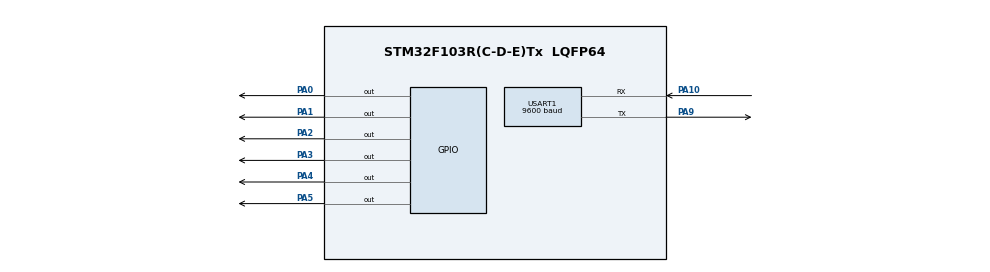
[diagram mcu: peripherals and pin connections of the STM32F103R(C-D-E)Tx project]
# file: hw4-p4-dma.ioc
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Dma.Request0=USART1_RX
Dma.USART1_RX.0.Direction=DMA_PERIPH_TO_MEMORY
Dma.USART1_RX.0.Instance=DMA1_Channel5
Dma.USART1_RX.0.MemDataAlignment=DMA_MDATAALIGN_BYTE
Dma.USART1_RX.0.MemInc=DMA_MINC_ENABLE
Dma.USART1_RX.0.Mode=DMA_CIRCULAR
Dma.USART1_RX.0.PeriphDataAlignment=DMA_PDATAALIGN_BYTE
Dma.USART1_RX.0.PeriphInc=DMA_PINC_DISABLE
Dma.USART1_RX.0.Priority=DMA_PRIORITY_LOW
Mcu.Family=STM32F1
Mcu.Name=STM32F103R(C-D-E)Tx
Mcu.Package=LQFP64
NVIC.DMA1_Channel5_IRQn=true\:0\:0\:false\:false\:true\:false\:true\:true
NVIC.PriorityGroup=NVIC_PRIORITYGROUP_4
PA0-WKUP.Signal=GPIO_Output
PA1.Signal=GPIO_Output
PA10.Mode=Asynchronous
PA10.Signal=USART1_RX
PA13.Mode=Serial_Wire
PA13.Signal=SYS_JTMS-SWDIO
PA14.Mode=Serial_Wire
PA14.Signal=SYS_JTCK-SWCLK
PA2.Signal=GPIO_Output
PA3.Signal=GPIO_Output
PA4.Signal=GPIO_Output
PA5.Signal=GPIO_Output
PA9.Mode=Asynchronous
PA9.Signal=USART1_TX
PD0-OSC_IN.Mode=HSE-External-Oscillator
PD0-OSC_IN.Signal=RCC_OSC_IN
PD1-OSC_OUT.Mode=HSE-External-Oscillator
PD1-OSC_OUT.Signal=RCC_OSC_OUT
ProjectManager.HeapSize=0x200
ProjectManager.StackSize=0x400
ProjectManager.TargetToolchain=MDK-ARM V5.32
RCC.APB1Freq_Value=8000000
RCC.APB2Freq_Value=8000000
USART1.BaudRate=9600
USART1.VirtualMode=VM_ASYNC
board=custom

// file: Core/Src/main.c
/* USER CODE BEGIN Header */
/**
  ******************************************************************************
  * @file           : main.c
  * @brief          : Main program body
  ******************************************************************************
  * @attention
  *
  * Copyright (c) 2026 STMicroelectronics.
  * All rights reserved.
  *
  * This software is licensed under terms that can be found in the LICENSE file
  * in the root directory of this software component.
  * If no LICENSE file comes with this software, it is provided AS-IS.
  *
  ******************************************************************************
  */
/* USER CODE END Header */
#include "main.h"

/* USER CODE BEGIN Includes */
#include "lcd.h"
/* USER CODE END Includes */

/* USER CODE BEGIN PTD */
#define LCD_D4_PORT GPIOA
#define LCD_D4_PIN  GPIO_PIN_0
#define LCD_D5_PORT GPIOA
#define LCD_D5_PIN  GPIO_PIN_1
#define LCD_D6_PORT GPIOA
#define LCD_D6_PIN  GPIO_PIN_2
#define LCD_D7_PORT GPIOA
#define LCD_D7_PIN  GPIO_PIN_3

#define LCD_RS_PORT GPIOA
#define LCD_RS_PIN  GPIO_PIN_4
#define LCD_EN_PORT GPIOA
#define LCD_EN_PIN  GPIO_PIN_5
/* USER CODE END PTD */

UART_HandleTypeDef huart1;
DMA_HandleTypeDef hdma_usart1_rx;

/* USER CODE BEGIN PV */
Lcd_HandleTypeDef mylcd;
uint8_t dma_rx_byte;
volatile uint8_t dma_data_ready = 0;
char display_buffer[16];
/* USER CODE END PV */

void SystemClock_Config(void);
static void MX_GPIO_Init(void);
static void MX_DMA_Init(void);
static void MX_USART1_UART_Init(void);

/* USER CODE BEGIN 0 */
void HAL_UART_RxCpltCallback(UART_HandleTypeDef *huart)
{
    if (huart->Instance == USART1)
    {
        // Tell the main loop that new data is sitting in the memory
        dma_data_ready = 1;

        // NOTE: If you set DMA to "Circular" in CubeMX, you DO NOT need
        // to call HAL_UART_Receive_DMA here again. It restarts automatically!
        // If you used "Normal" mode, you would need to re-arm it here.
    }
}
/* USER CODE END 0 */

int main(void)
{

  /* MCU Configuration--------------------------------------------------------*/

  /* Reset of all peripherals, Initializes the Flash interface and the Systick. */
  HAL_Init();

  /* Configure the system clock */
  SystemClock_Config();

  /* Initialize all configured peripherals */
  MX_GPIO_Init();
  MX_DMA_Init();
  MX_USART1_UART_Init();
  /* USER CODE BEGIN 2 */
Lcd_PortType lcd_ports[] = {LCD_D4_PORT, LCD_D5_PORT, LCD_D6_PORT, LCD_D7_PORT};
Lcd_PinType  lcd_pins[]  = {LCD_D4_PIN, LCD_D5_PIN, LCD_D6_PIN, LCD_D7_PIN};

mylcd = Lcd_create(lcd_ports, lcd_pins, LCD_RS_PORT, LCD_RS_PIN, LCD_EN_PORT, LCD_EN_PIN, LCD_4_BIT_MODE);

Lcd_clear(&mylcd);
Lcd_cursor(&mylcd, 0, 0);
Lcd_string(&mylcd, "Mode: DMA RX");

HAL_UART_Receive_DMA(&huart1, &dma_rx_byte, 1);
  /* USER CODE END 2 */

  /* Infinite loop */
  while (1)
  {

    /* USER CODE BEGIN 3 */
		if (dma_data_ready == 1)
    {
        // Lower the flag
        dma_data_ready = 0;

        // Move to the second line of the LCD
        Lcd_cursor(&mylcd, 1, 0);

        // Format the number received by the DMA controller
        sprintf(display_buffer, "Val: %03d   ", dma_rx_byte);
        Lcd_string(&mylcd, display_buffer);
    }
  }
  /* USER CODE END 3 */
}

void SystemClock_Config(void)
{
  RCC_OscInitTypeDef RCC_OscInitStruct = {0};
  RCC_ClkInitTypeDef RCC_ClkInitStruct = {0};

  /** Initializes the RCC Oscillators according to the specified parameters
  * in the RCC_OscInitTypeDef structure.
  */
  RCC_OscInitStruct.OscillatorType = RCC_OSCILLATORTYPE_HSI;
  RCC_OscInitStruct.HSIState = RCC_HSI_ON;
  RCC_OscInitStruct.HSICalibrationValue = RCC_HSICALIBRATION_DEFAULT;
  RCC_OscInitStruct.PLL.PLLState = RCC_PLL_NONE;
  if (HAL_RCC_OscConfig(&RCC_OscInitStruct) != HAL_OK)
  {
    Error_Handler();
  }

  /** Initializes the CPU, AHB and APB buses clocks
  */
  RCC_ClkInitStruct.ClockType = RCC_CLOCKTYPE_HCLK|RCC_CLOCKTYPE_SYSCLK
                              |RCC_CLOCKTYPE_PCLK1|RCC_CLOCKTYPE_PCLK2;
  RCC_ClkInitStruct.SYSCLKSource = RCC_SYSCLKSOURCE_HSI;
  RCC_ClkInitStruct.AHBCLKDivider = RCC_SYSCLK_DIV1;
  RCC_ClkInitStruct.APB1CLKDivider = RCC_HCLK_DIV1;
  RCC_ClkInitStruct.APB2CLKDivider = RCC_HCLK_DIV1;

  if (HAL_RCC_ClockConfig(&RCC_ClkInitStruct, FLASH_LATENCY_0) != HAL_OK)
  {
    Error_Handler();
  }
}

static void MX_USART1_UART_Init(void)
{

  huart1.Instance = USART1;
  huart1.Init.BaudRate = 9600;
  huart1.Init.WordLength = UART_WORDLENGTH_8B;
  huart1.Init.StopBits = UART_STOPBITS_1;
  huart1.Init.Parity = UART_PARITY_NONE;
  huart1.Init.Mode = UART_MODE_TX_RX;
  huart1.Init.HwFlowCtl = UART_HWCONTROL_NONE;
  huart1.Init.OverSampling = UART_OVERSAMPLING_16;
  if (HAL_UART_Init(&huart1) != HAL_OK)
  {
    Error_Handler();
  }

}

static void MX_DMA_Init(void)
{

  /* DMA controller clock enable */
  __HAL_RCC_DMA1_CLK_ENABLE();

  /* DMA interrupt init */
  /* DMA1_Channel5_IRQn interrupt configuration */
  HAL_NVIC_SetPriority(DMA1_Channel5_IRQn, 0, 0);
  HAL_NVIC_EnableIRQ(DMA1_Channel5_IRQn);

}

static void MX_GPIO_Init(void)
{
  GPIO_InitTypeDef GPIO_InitStruct = {0};

  /* GPIO Ports Clock Enable */
  __HAL_RCC_GPIOD_CLK_ENABLE();
  __HAL_RCC_GPIOA_CLK_ENABLE();

  /*Configure GPIO pin Output Level */
  HAL_GPIO_WritePin(GPIOA, GPIO_PIN_0|GPIO_PIN_1|GPIO_PIN_2|GPIO_PIN_3
                          |GPIO_PIN_4|GPIO_PIN_5, GPIO_PIN_RESET);

  /*Configure GPIO pins : PA0 PA1 PA2 PA3
                           PA4 PA5 */
  GPIO_InitStruct.Pin = GPIO_PIN_0|GPIO_PIN_1|GPIO_PIN_2|GPIO_PIN_3
                          |GPIO_PIN_4|GPIO_PIN_5;
  GPIO_InitStruct.Mode = GPIO_MODE_OUTPUT_PP;
  GPIO_InitStruct.Pull = GPIO_NOPULL;
  GPIO_InitStruct.Speed = GPIO_SPEED_FREQ_LOW;
  HAL_GPIO_Init(GPIOA, &GPIO_InitStruct);

}

void Error_Handler(void)
{
  __disable_irq();
  while (1)
  {
  }
}
